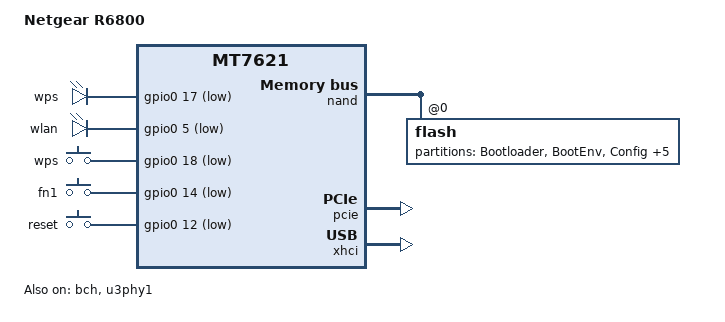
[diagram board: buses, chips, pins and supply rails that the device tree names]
/dts-v1/;

#include "mt7621.dtsi"
#include <dt-bindings/input/input.h>
#include "mt7621-raeth-gmac2.dtsi"
#include "mt7621-pinctrl-default-gpio.dtsi"

/ {
	compatible = "mediatek,mt7621-soc";
	model = "Netgear R6800";

	chosen {
		bootargs = "console=ttyS0,115200";
	};

	leds {
		compatible = "gpio-leds";

		wps {
			label = "wps";
			gpios = <&gpio0 17 GPIO_ACTIVE_LOW>;
		};

		wlan {
			label = "wlan";
			gpios = <&gpio0 5 GPIO_ACTIVE_LOW>;
		};
	};

	gpio-keys-polled {
		compatible = "gpio-keys-polled";
		#address-cells = <1>;
		#size-cells = <0>;
		poll-interval = <20>;

		wps {
			label = "wps";
			gpios = <&gpio0 18 GPIO_ACTIVE_LOW>;
			linux,code = <KEY_WPS_BUTTON>;
		};

		fn1 { /* wlan */
			label = "fn1";
			gpios = <&gpio0 14 GPIO_ACTIVE_LOW>;
			linux,code = <KEY_FN_1>;
		};

		reset {
			label = "reset";
			gpios = <&gpio0 12 GPIO_ACTIVE_LOW>;
			linux,code = <KEY_RESTART>;
		};
	};

};

&bch {
	status = "okay";
};

&nand {
	status = "okay";

	flash@0 {
		reg = <0>;
		nand-ecc-mode = "hw";
		partitions {
			compatible = "fixed-partitions";
			#address-cells = <1>;
			#size-cells = <1>;

			partition@0 {
				label = "Bootloader";
				reg = <0x0 0x40000>; /* 256k */
			};
      
			partition@40000 {
				label = "BootEnv";
				reg = <0x40000 0x40000>; /* 256k */
			};
			
                        partition@80000 {
				label = "Config";
				reg = <0x80000 0x80000>; /* 512k */
			};
			
			partition@100000 {
				label = "Factory";
				reg = <0x100000 0x40000>; /* 256k */
			};
      			
			partition@140000 {
				label = "firmware";
				reg = <0x140000 0x1800000>;	/* 24M */
			};

			partition@1940000 {
				label = "Storage";
				reg = <0x1940000 0x400000>; /* 4096K */
			};

			partition@1d40000 {
				label = "RWFS";
				reg = <0x1d40000 0x6240000>;
			};

			partition@all {
				label = "ALL";
				reg = <0x0 0x7f80000>;
			};
		};
	};
};

&pcie {
	status = "okay";
};

&xhci {
	status = "okay";
};

&u3phy1 {
	status = "okay";
};
